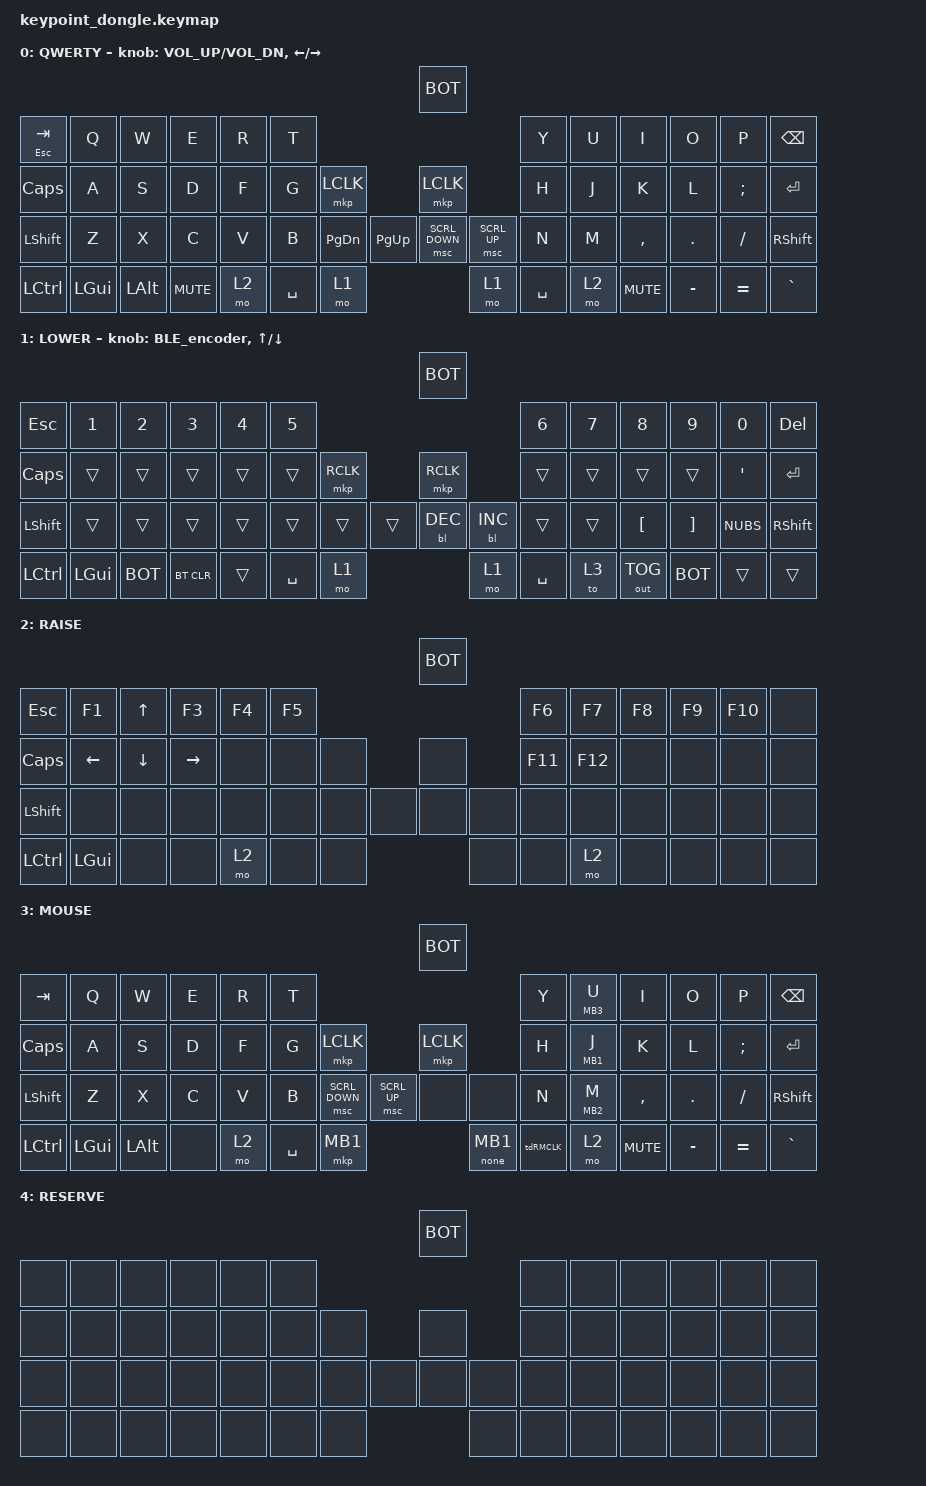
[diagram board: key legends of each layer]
/*
 * Copyright (c) 2025 ZitaoTech
 *
 * SPDX-License-Identifier: MIT
 */

#include <behaviors.dtsi>
#include <dt-bindings/zmk/keys.h>
#include <dt-bindings/zmk/bt.h>
#include <dt-bindings/zmk/outputs.h>
#include <dt-bindings/zmk/pointing.h>
#include <dt-bindings/zmk/mouse.h>
#include <dt-bindings/zmk/backlight.h>
#include <dt-bindings/zmk/ext_power.h>
#include <dt-bindings/zmk/rgb.h>
#include <behaviors/mouse_key_toggle.dtsi> // for &mktg

#define LOWER 1
#define RAISE 2
#define MOUSE 3
#define BOT bootloader

/ {
    input_processors {

        zip_temp_layer: zip_temp_layer {
            compatible = "zmk,input-processor-temp-layer";
            #input-processor-cells = <2>;
        };

        ip_behaviors0: ip_behaviors0 {
            compatible = "zmk,input-processor-behaviors";
            #input-processor-cells = <0>;
            type = <INPUT_EV_KEY>;
            codes = <INPUT_BTN_0>;
            bindings = <&kp RIGHT>;
        };
        ip_behaviors1: ip_behaviors1 {
            compatible = "zmk,input-processor-behaviors";
            #input-processor-cells = <0>;
            type = <INPUT_EV_KEY>;
            codes = <INPUT_BTN_1>;
            bindings = <&kp LEFT>;
        };
        ip_behaviors2: ip_behaviors2 {
            compatible = "zmk,input-processor-behaviors";
            #input-processor-cells = <0>;
            type = <INPUT_EV_KEY>;
            codes = <INPUT_BTN_2>;
            bindings = <&kp DOWN>;
        };
        ip_behaviors3: ip_behaviors3 {
            compatible = "zmk,input-processor-behaviors";
            #input-processor-cells = <0>;
            type = <INPUT_EV_KEY>;
            codes = <INPUT_BTN_3>;
            bindings = <&kp UP>;
        };
    };
};


/ {
    behaviors {
        td0: tap_dance_0 {
            compatible = "zmk,behavior-tap-dance";
            #binding-cells = <0>;
            tapping-term-ms = <400>;
            bindings = <&mkp LCLK>, <&bt BT_CLR>;
        };
    };
    behaviors {
        tdRMCLK: tap_dance_R_LMouse {
            compatible = "zmk,behavior-tap-dance";
            #binding-cells = <0>;
            tapping-term-ms = <400>;
            bindings = <&mkp RCLK>, <&mkp MCLK>;
        };
    };

    behaviors {
        hm: homerow_mods {
            compatible = "zmk,behavior-hold-tap";
            #binding-cells = <2>;
            tapping-term-ms = <500>;
            bindings = <&kp &kp>;
        };
    };

    behaviors {
         LMouse_sc: behavior_LMouse_Scroll {
           compatible = "zmk,behavior-hold-tap";
           #binding-cells = <2>;
           flavor = "tap-preferred";     /* 单击优先 */
           tapping-term-ms = <200>;       /* 长按阈值 */
           bindings = <&none &mkp>;        /* hold=none, tap=Lmouse */
        };
    };

    behaviors {
         M_kp: behavior_mouse_keypress {
           compatible = "zmk,behavior-hold-tap";
           #binding-cells = <2>;
           flavor = "tap-preferred";     /* 单击优先 */
           tapping-term-ms = <200>;       /* 长按阈值 */
           bindings = <&mkp &kp>;        /* hold=mou key press, tap=key*/
        };
    };

    behaviors {
        BLE_encoder: BLE_encoder {
            compatible = "zmk,behavior-sensor-rotate";
            #sensor-binding-cells = <0>;
            bindings = <&bt BT_NXT>, <&bt BT_PRV>;
        };
    };


    keymap {
        compatible = "zmk,keymap";

         default_layer {
            display-name = "QWERTY";    
           bindings = <
                                                                                      &BOT
&mt ESC TAB &kp Q  &kp W      &kp E      &kp R     &kp T                                                                 &kp Y       &kp U    &kp I      &kp O     &kp P     &kp BSPC
&kp CAPS  &kp A    &kp S      &kp D      &kp F     &kp G     &mkp LCLK                    &mkp LCLK                      &kp H       &kp J    &kp K      &kp L     &kp SEMI  &kp ENTER
&kp LSHFT &kp Z    &kp X      &kp C      &kp V     &kp B     &kp PG_DN  &kp PG_UP         &msc SCRL_DOWN  &msc SCRL_UP   &kp N       &kp M    &kp COMMA  &kp DOT   &kp FSLH  &kp RSHFT
&kp LCTRL &kp LGUI &kp LALT   &kp C_MUTE &mo 2     &kp SPACE &mo 1                                        &mo 1          &kp SPACE   &mo 2    &kp C_MUTE &kp MINUS &kp EQUAL &kp GRAVE
           >;
           sensor-bindings = <&inc_dec_kp C_VOL_UP C_VOL_DN &inc_dec_kp LEFT RIGHT>;
        };


        lower_layer {
            display-name = "LOWER";
            bindings = <
                                                                                        &BOT
&kp ESC   &kp N1    &kp N2     &kp N3       &kp N4   &kp N5                                                               &kp N6    &kp N7   &kp N8       &kp N9    &kp N0     &kp DEL
&kp CAPS  &trans    &trans     &trans       &trans   &trans           &mkp RCLK                    &mkp RCLK              &trans    &trans   &trans       &trans    &kp SQT    &kp ENTER
&kp LSHFT &trans    &trans     &trans       &trans   &trans           &trans     &trans            &bl BL_DEC  &bl BL_INC &trans    &trans   &kp LBKT     &kp RBKT  &kp NUBS   &kp RSHFT
&kp LCTRL &kp LGUI  &BOT       &bt BT_CLR   &trans   &kp SPACE        &mo 1                                    &mo 1      &kp SPACE &to 3    &out OUT_TOG &BOT      &trans     &trans
            >;
             sensor-bindings = <&BLE_encoder &inc_dec_kp UP DOWN>;
        };

        raise_layer {
            display-name = "RAISE";
            bindings = <
                                                                                   &BOT
&kp ESC       &kp F1    &kp UP     &kp F3    &kp F4   &kp F5                                                    &kp F6      &kp F7  &kp F8   &kp F9  &kp F10  &none
&kp CAPS      &kp LEFT  &kp DOWN   &kp RIGHT &none    &none   &none                        &none                &kp F11     &kp F12 &none    &none  &none     &none
&kp LSHFT     &none     &none      &none     &none    &none   &none   &none                &none  &none         &none       &none   &none    &none  &none     &none
&kp LCTRL     &kp LGUI  &none      &none     &mo 2    &none   &none                               &none         &none       &mo 2   &none    &none  &none     &none 
            >;
        };

        MOUSE_layer {
            display-name = "MOUSE";
            bindings = <
                                                                                   &BOT
&kp TAB   &kp Q     &kp W          &kp E     &kp R     &kp T                                                         &kp Y       &M_kp MB3 U    &kp I      &kp O     &kp P     &kp BSPC
&kp CAPS  &kp A     &kp S          &kp D     &kp F     &kp G      &mkp LCLK                         &mkp LCLK        &kp H       &M_kp MB1 J    &kp K      &kp L     &kp SEMI  &kp ENTER
&kp LSHFT &kp Z     &kp X          &kp C     &kp V     &kp B      &msc SCRL_DOWN   &msc SCRL_UP     &none  &none     &kp N       &M_kp MB2 M    &kp COMMA  &kp DOT   &kp FSLH  &kp RSHFT
&kp LCTRL &kp LGUI  &kp  LALT      &none     &mo 2     &kp SPACE  &mkp MB1                         &LMouse_sc 0 MB1  &tdRMCLK    &mo 2          &kp C_MUTE &kp MINUS &kp EQUAL &kp GRAVE
            >;
        };

        RES_layer {
            display-name = "RESERVE";
            bindings = <
                                                                             &BOT
&none     &none     &none      &none    &none    &none                                                 &none   &none  &none   &none  &none  &none
&none     &none     &none      &none    &none    &none   &none                        &none            &none   &none  &none   &none  &none  &none
&none     &none     &none      &none    &none    &none   &none   &none                &none  &none     &none   &none  &none   &none  &none  &none
&none     &none     &none      &none    &none    &none   &none                               &none     &none   &none  &none   &none  &none  &none 
            >;
        };

    };
};
